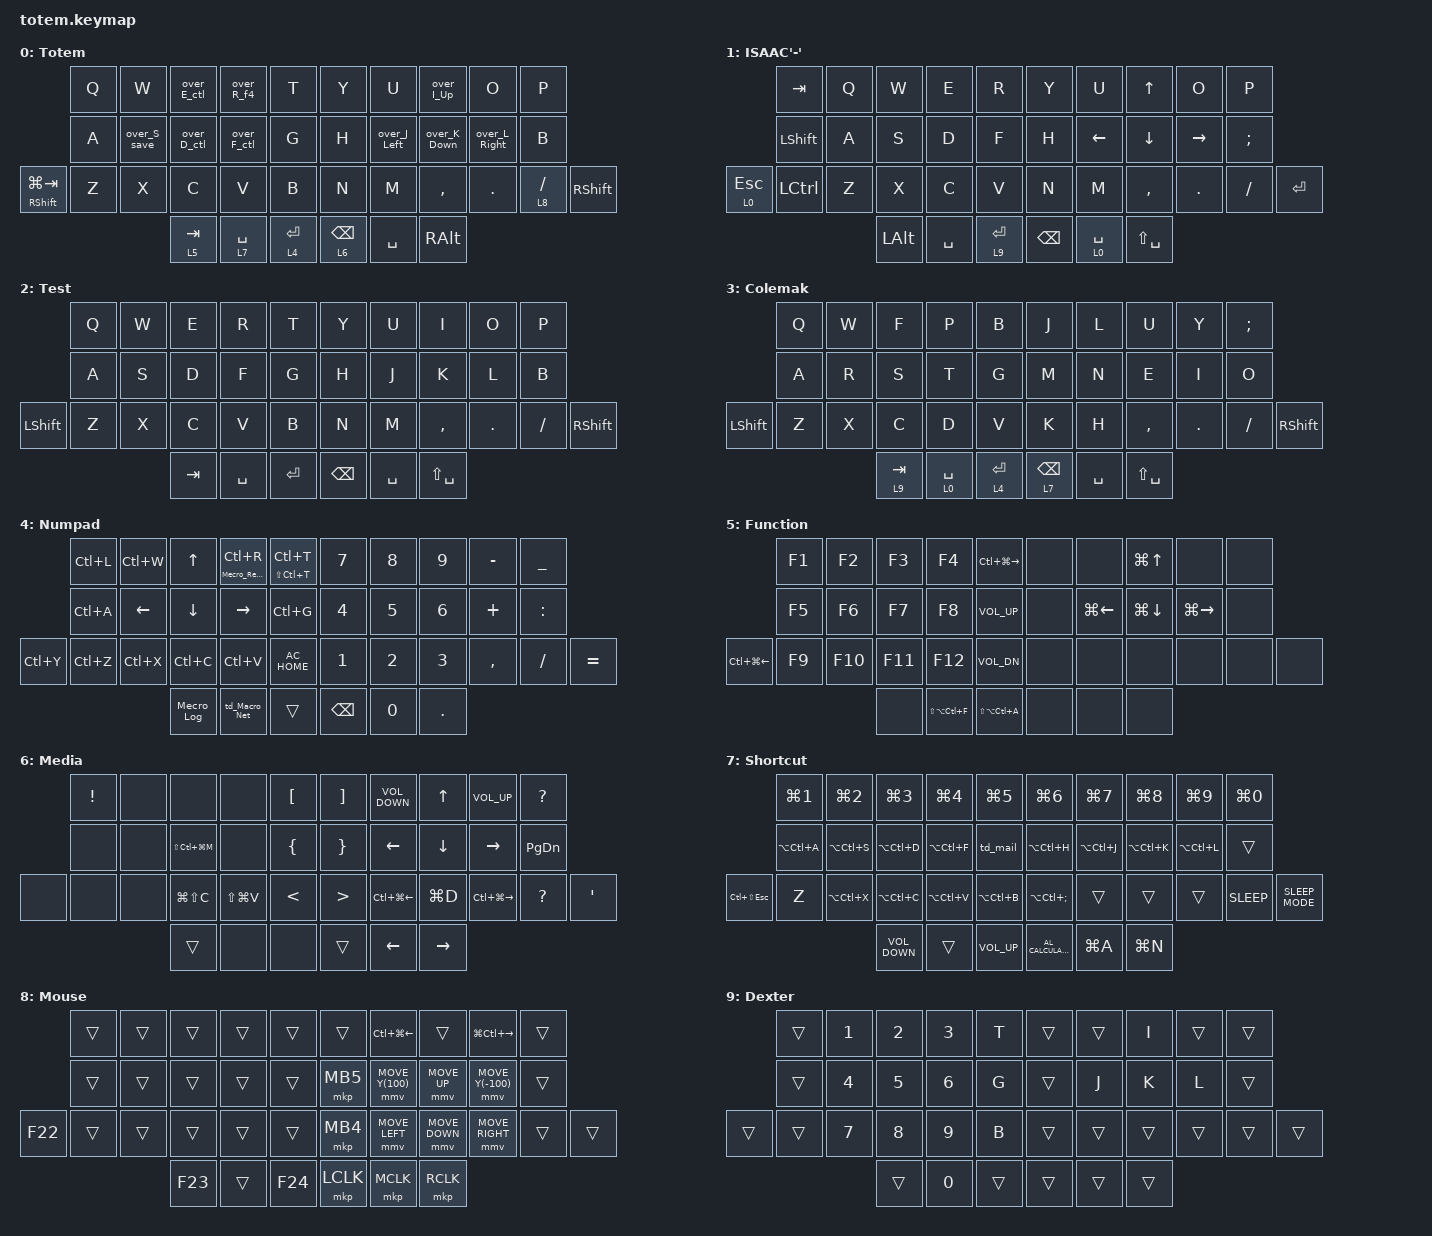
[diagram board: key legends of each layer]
//
//                                                        ▀▀▀▀▀     ▀▀▀▀▀          ▀▀█▀▀
//                                                        ▄▀▀▀▄  ▄  ▄▀▀▀▄  ▄  ▄▀▀▀▄  █  ▄▀▀▀▄
//                                                        █   █  █  █   █  █  █   █  █  █   █
//                                                         ▀▀▀   █   ▀▀▀   █   ▀▀▀   ▀   ▀▀▀
//                                                               █      ▄▄▄█▄▄▄    █   █  
//                                                               ▀      █  █  █     █▄█
//                                                             ▀▀▀▀▀    █  █  █      ▀
//                                                                      ▀  ▀  ▀
//
// ▄▄▄▄▄▄▄▄▄▄▄▄▄▄▄▄▄▄▄▄▄▄▄▄▄▄▄▄▄▄▄▄▄▄▄▄▄▄▄▄▄▄▄▄▄▄▄▄▄▄▄▄▄▄▄▄▄▄▄▄▄▄▄▄▄▄▄▄▄▄▄▄▄▄▄▄▄▄▄▄▄▄▄▄▄▄▄▄▄▄▄▄▄▄▄▄▄▄▄▄▄▄▄▄▄▄▄▄▄▄▄▄▄▄▄▄▄▄▄▄▄▄▄▄▄▄▄▄▄▄▄▄▄▄▄▄▄▄▄▄▄▄▄▄▄▄▄▄▄

#include <behaviors.dtsi>
#include <dt-bindings/zmk/keys.h>
#include <dt-bindings/zmk/pointing.h>

#define Base        0
#define Nav         1
#define Sym         2
#define Fun         3
#define Game        4
#define Gameplus    5

&mt {
    quick-tap-ms = <100>;
    global-quick-tap;
    flavor = "hold-preferred";
    tapping-term-ms = <180>;
};

&lt {
    tapping-term-ms = <400>;
    flavor = "balanced";
    quick-tap-ms = <400>;
};

/ {
    behaviors {
        hm: homerow_mods {
            compatible = "zmk,behavior-hold-tap";
            label = "HOMEROW_MODS";
            #binding-cells = <2>;
            flavor = "tap-preferred";
            tapping-term-ms = <200>;
            quick-tap-ms = <130>;
            global-quick-tap;
            bindings = <&kp>, <&kp>;
        };

        td_Macro_Net: td_Macro_Net {
            compatible = "zmk,behavior-tap-dance";
            label = "TD_MACRO_NET";
            #binding-cells = <0>;
            bindings = <&Macro_Net1>, <&Macro_Net2>;

            tapping-term-ms = <350>;
        };

        td_Refresh: td_Refresh {
            compatible = "zmk,behavior-tap-dance";
            label = "TD_REFRESH";
            #binding-cells = <0>;
            bindings = <&kp LC(R)>, <&Mecro_Refresh>;

            tapping-term-ms = <350>;
        };

        td_mail: td_mail {
            compatible = "zmk,behavior-tap-dance";
            label = "TD_MAIL";
            #binding-cells = <0>;
            bindings = <&kp LA(LC(G))>, <&kp LA(LC(N))>;
        };

        td_chrome_newtab: td_chrome_newtab {
            compatible = "zmk,behavior-tap-dance";
            label = "TD_CHROME_NEWTAB";
            #binding-cells = <0>;
            bindings = <&kp LC(T)>, <&kp LC(LS(T))>;

            tapping-term-ms = <350>;
        };

        over_S_save: over_S_save {
            compatible = "zmk,behavior-mod-morph";
            label = "OVER_S_SAVE";
            bindings = <&kp S>, <&kp LC(S)>;

            #binding-cells = <0>;
            mods = <(MOD_LSFT)>;
        };

        over_I_Up: over_I_Up {
            compatible = "zmk,behavior-mod-morph";
            label = "OVER_I_UP";
            bindings = <&kp I>, <&kp LS(UP_ARROW)>;

            #binding-cells = <0>;
            mods = <(MOD_LSFT)>;
        };

        over_J_Left: over_J_Left {
            compatible = "zmk,behavior-mod-morph";
            label = "OVER_J_LEFT";
            bindings = <&kp J>, <&kp LS(LEFT_ARROW)>;

            #binding-cells = <0>;
            mods = <(MOD_LSFT)>;
        };

        over_K_Down: over_K_Down {
            compatible = "zmk,behavior-mod-morph";
            label = "OVER_K_DOWN";
            bindings = <&kp K>, <&kp LS(DOWN_ARROW)>;

            #binding-cells = <0>;
            mods = <(MOD_LSFT)>;
        };

        over_L_Right: over_L_Right {
            compatible = "zmk,behavior-mod-morph";
            label = "OVER_L_RIGHT";
            bindings = <&kp L>, <&kp LS(RIGHT_ARROW)>;

            #binding-cells = <0>;
            mods = <(MOD_LSFT)>;
        };

        hmc: homerow_mods_ctrl {
            compatible = "zmk,behavior-hold-tap";
            label = "HMC";
            #binding-cells = <2>;
            flavor = "tap-preferred";
            tapping-term-ms = <200>;
            quick-tap-ms = <130>;
            global-quick-tap;
            bindings = <&kp>, <&kp>;

            hold-trigger-key-positions = <34>;
        };

        OSM_shift: OSM_shift {
            compatible = "zmk,behavior-sticky-key";
            label = "OSM_SHIFT";
            bindings = <&kp>;
            #binding-cells = <1>;
            release-after-ms = <50>;
            quick-release;
        };

        LT_hold: LT_hold {
            compatible = "zmk,behavior-hold-tap";
            label = "LT_HOLD";
            bindings = <&mo>, <&kp>;

            #binding-cells = <2>;
            tapping-term-ms = <240>;
            quick-tap-ms = <240>;
        };

        MT_hold: MT_hold {
            compatible = "zmk,behavior-hold-tap";
            label = "MT_HOLD";
            bindings = <&kp>, <&kp>;

            #binding-cells = <2>;
            tapping-term-ms = <240>;
            quick-tap-ms = <200>;
        };

        over_R_f4: over_R_f4 {
            compatible = "zmk,behavior-mod-morph";
            label = "OVER_R_F4";
            bindings = <&kp R>, <&kp LA(F4)>;

            #binding-cells = <0>;
            mods = <(MOD_LSFT)>;
        };

        over_D_ctl: over_D_ctl {
            compatible = "zmk,behavior-mod-morph";
            label = "OVER_D_CTL";
            bindings = <&kp D>, <&kp LC(D)>;

            #binding-cells = <0>;
            mods = <(MOD_LSFT)>;
        };

        over_E_ctl: over_E_ctl {
            compatible = "zmk,behavior-mod-morph";
            label = "OVER_E_CTL";
            bindings = <&kp E>, <&kp LC(E)>;

            #binding-cells = <0>;
            mods = <(MOD_LSFT)>;
        };

        over_F_ctl: over_F_ctl {
            compatible = "zmk,behavior-mod-morph";
            label = "OVER_F_CTL";
            bindings = <&kp F>, <&kp LC(F)>;

            #binding-cells = <0>;
            mods = <(MOD_LSFT)>;
        };

        ht_test: ht_test {
            compatible = "zmk,behavior-hold-tap";
            label = "HT_TEST";
            bindings = <&kp>, <&kp>;

            #binding-cells = <2>;
            tapping-term-ms = <350>;
        };

        td_hold_test: td_hold_test {
            compatible = "zmk,behavior-tap-dance";
            label = "TD_HOLD_TEST";
            #binding-cells = <0>;
            bindings = <&kp NUMBER_1>, <&ht_test NUMBER_3 NUMBER_2>;
        };

        LT_retro: LT_retro {
            compatible = "zmk,behavior-hold-tap";
            label = "LT_RETRO";
            bindings = <&mo>, <&kp>;

            #binding-cells = <2>;
            tapping-term-ms = <300>;
            flavor = "hold-preferred";
            retro-tap;
            quick-tap-ms = <300>;
        };

        ht_refresh: ht_refresh {
            compatible = "zmk,behavior-hold-tap";
            label = "HT_REFRESH";
            #binding-cells = <2>;
            flavor = "tap-preferred";
            tapping-term-ms = <200>;
            quick-tap-ms = <130>;
            global-quick-tap;
            bindings = <&Mecro_Refresh>, <&kp>;
        };

        ht_mkp: ht_mkp {
            compatible = "zmk,behavior-hold-tap";
            label = "HT_MKP";
            bindings = <&mkp>, <&kp>;

            #binding-cells = <2>;
            tapping-term-ms = <240>;
            quick-tap-ms = <200>;
            flavor = "balanced";
        };
    };

    combos {
        compatible = "zmk,combos";

        Delete_alt {
            bindings = <&hm LALT DEL>;
            key-positions = <11 12>;
            layers = <0 3>;
        };

        question {
            bindings = <&kp QUESTION>;
            key-positions = <16 17>;
            layers = <0 3>;
            timeout-ms = <400>;
        };

        Enter {
            bindings = <&kp ENTER>;
            key-positions = <19 31>;
            layers = <0 3>;
            timeout-ms = <350>;
        };

        alt+f4 {
            bindings = <&kp LA(F4)>;
            key-positions = <0 20>;
            layers = <0 3 4>;
        };

        brackets {
            bindings = <&kp LPAR>;
            key-positions = <13 14>;
            layers = <0 3 4>;
        };

        caps {
            bindings = <&kp CAPS>;
            key-positions = <0 1 8 9>;
            layers = <0 3>;
            timeout-ms = <350>;
        };

        four {
            bindings = <&kp DOLLAR>;
            key-positions = <3 14>;
            layers = <0 4 3>;
            require-prior-idle-ms = <100>;
        };

        caps_word {
            bindings = <&caps_word>;
            key-positions = <27 28>;
            timeout-ms = <350>;
            layers = <0 3>;
        };

        del {
            bindings = <&mt LALT DELETE>;
            key-positions = <18 17>;
            layers = <0 3>;
        };

        quotes {
            bindings = <&kp DOUBLE_QUOTES>;
            key-positions = <30 29>;
            layers = <0 3>;
        };

        exclamation {
            bindings = <&mt LSHIFT EXCLAMATION>;
            key-positions = <12 13>;
            layers = <0 3 4>;
        };

        qua {
            bindings = <&kp SQT>;
            key-positions = <29 28>;
            layers = <0 3>;
            require-prior-idle-ms = <100>;
        };

        win {
            bindings = <&kp LEFT_WIN>;
            key-positions = <21 22>;
            layers = <0 3>;
        };

        middle_click {
            bindings = <&ht_mkp MCLK LC(PAGE_UP)>;
            key-positions = <22 23>;
            timeout-ms = <350>;
            layers = <0 3>;
        };

        right_click {
            bindings = <&ht_mkp RCLK LC(PAGE_DOWN)>;
            key-positions = <23 24>;
            layers = <0 3 4>;
        };

        five {
            bindings = <&kp PERCENT>;
            key-positions = <6 15>;
            layers = <0 3>;
            require-prior-idle-ms = <100>;
        };

        six {
            bindings = <&kp CARET>;
            key-positions = <6 7>;
            layers = <0 3>;
            require-prior-idle-ms = <100>;
        };

        seven {
            bindings = <&kp AMPERSAND>;
            key-positions = <8 7>;
            layers = <0 3>;
        };

        two {
            bindings = <&kp AT_SIGN>;
            key-positions = <1 2>;
            layers = <0 4 3>;
            require-prior-idle-ms = <100>;
        };

        three {
            bindings = <&kp HASH>;
            key-positions = <2 3>;
            layers = <0 4 3>;
            require-prior-idle-ms = <100>;
        };

        eight {
            bindings = <&kp ASTERISK>;
            key-positions = <8 9>;
            layers = <0 4 3>;
            require-prior-idle-ms = <100>;
        };

        wave {
            bindings = <&mt LCTRL TILDE>;
            key-positions = <10 11>;
            layers = <0 4 3>;
            require-prior-idle-ms = <100>;
        };

        Macro_brackets {
            bindings = <&kp RPAR>;
            key-positions = <15 16>;
            layers = <0 3>;
            timeout-ms = <350>;
        };

        TG {
            bindings = <&tog 3>;
            key-positions = <10 19 11 18>;
            layers = <0 3>;
        };

        gaming {
            bindings = <&tog 1>;
            key-positions = <20 31>;
            layers = <0 1>;
        };

        backtick {
            bindings = <&kp GRAVE>;
            key-positions = <20 10>;
            layers = <0 3>;
        };

        backslash {
            bindings = <&kp BACKSLASH>;
            key-positions = <31 30>;
            layers = <0 3>;
        };

        esc {
            bindings = <&kp ESC>;
            key-positions = <0 1>;
            layers = <0 3>;
        };

        semi {
            bindings = <&mt LCTRL SEMICOLON>;
            key-positions = <19 18>;
            layers = <0 3>;
        };

        L_bracket {
            bindings = <&kp LBKT>;
            key-positions = <4 3>;
            layers = <0 3>;
        };

        R_bracket {
            bindings = <&kp RBKT>;
            key-positions = <5 6>;
            layers = <0>;
        };

        all {
            bindings = <&kp LC(A)>;
            key-positions = <10 34>;
            layers = <0>;
        };

        underbar {
            bindings = <&kp UNDERSCORE>;
            key-positions = <26 27>;
            layers = <0>;
        };

        minus {
            bindings = <&kp MINUS>;
            key-positions = <25 24>;
        };
    };

    macros {
        Macro_Net1: net_macro {
            compatible = "zmk,behavior-macro";
            #binding-cells = <0>;
            bindings = <&kp LEFT_ARROW &kp LEFT_ARROW &kp N0 &kp ENTER>;
            label = "NET_MACRO";
        };

        Macro_Net2: net_macro2 {
            compatible = "zmk,behavior-macro";
            #binding-cells = <0>;
            bindings = <&kp LEFT_ARROW &kp N0 &kp N0 &kp ENTER>;
            label = "NET_MACRO2";
        };

        Mecro_Log: Mecro_Log {
            compatible = "zmk,behavior-macro";
            #binding-cells = <0>;
            bindings = <&kp LC(A) &kp D &kp L &kp D &kp M &kp D &kp D &kp L>;
            label = "MECRO_LOG";
        };

        Mecro_Refresh: Mecro_Refresh {
            compatible = "zmk,behavior-macro";
            #binding-cells = <0>;
            bindings = <&kp LC(A) &kp LC(C) &kp LC(R)>;
            label = "MECRO_REFRESH";
        };

        Macro_brackets: Macro_brackets {
            compatible = "zmk,behavior-macro";
            #binding-cells = <0>;
            bindings = <&kp LPAR &kp RPAR &kp LEFT_ARROW>;
            label = "MACRO_BRACKETS";
        };

        Macro_bracket_r: Macro_bracket {
            compatible = "zmk,behavior-macro";
            #binding-cells = <0>;
            bindings = <&kp LEFT_BRACKET &kp RIGHT_BRACKET &kp LEFT_ARROW>;
            label = "MACRO_BRACKET";
        };
    };

    keymap {
        compatible = "zmk,keymap";

        Totem {
            display-name = "Totem";
            bindings = <
                              &kp Q  &kp W         &over_E_ctl      &over_R_f4         &kp T               &kp Y            &kp U         &over_I_Up     &kp O          &kp P
                              &kp A  &over_S_save  &over_D_ctl      &over_F_ctl        &kp G               &kp H            &over_J_Left  &over_K_Down   &over_L_Right  &kp B
&MT_hold RIGHT_SHIFT LG(TAB)  &kp Z  &kp X         &kp C            &kp V              &kp B               &kp N            &kp M         &kp COMMA      &kp PERIOD     &lt 8 SLASH  &kp RIGHT_SHIFT
                                                   &LT_retro 5 TAB  &LT_retro 7 SPACE  &LT_hold 4 ENTER    &lt 6 BACKSPACE  &kp SPACE     &kp RIGHT_ALT
            >;
        };

        Gaming {
            bindings = <
              &kp TAB    &kp Q  &kp W     &kp E      &kp R          &kp Y     &kp U           &kp UP_ARROW    &kp O            &kp P
              &kp LSHFT  &kp A  &kp S     &kp D      &kp F          &kp H     &kp LEFT_ARROW  &kp DOWN_ARROW  &kp RIGHT_ARROW  &kp SEMI
&lt 0 ESCAPE  &kp LCTRL  &kp Z  &kp X     &kp C      &kp V          &kp N     &kp M           &kp COMMA       &kp DOT          &kp FSLH  &kp ENTER
                                &kp LALT  &kp SPACE  &lt 9 ENTER    &kp BSPC  &lt 0 SPACE     &kp LS(SPACE)
            >;

            label = "ISAAC'-'";
        };

        Test {
            bindings = <
           &kp Q  &kp W  &kp E    &kp R      &kp T      &kp Y     &kp U      &kp I          &kp O    &kp P
           &kp A  &kp S  &kp D    &kp F      &kp G      &kp H     &kp J      &kp K          &kp L    &kp B
&kp LSHFT  &kp Z  &kp X  &kp C    &kp V      &kp B      &kp N     &kp M      &kp COMMA      &kp DOT  &kp FSLH  &kp RSHFT
                         &kp TAB  &kp SPACE  &kp RET    &kp BSPC  &kp SPACE  &kp LS(SPACE)
            >;
        };

        Colemak {
            bindings = <
           &kp Q  &kp W  &kp F      &kp P        &kp B          &kp J            &kp L      &kp U          &kp Y    &kp SEMI
           &kp A  &kp R  &kp S      &kp T        &kp G          &kp M            &kp N      &kp E          &kp I    &kp O
&kp LSHFT  &kp Z  &kp X  &kp C      &kp D        &kp V          &kp K            &kp H      &kp COMMA      &kp DOT  &kp FSLH  &kp RSHFT
                         &lt 9 TAB  &lt 0 SPACE  &lt 4 ENTER    &lt 7 BACKSPACE  &kp SPACE  &kp LS(SPACE)
            >;

            label = "Colemak";
        };

        Numpad {
            display-name = "Numpad";
            bindings = <
           &kp LC(L)  &kp LC(W)       &kp UP_ARROW    &ht_refresh 0 LC(R)  &hm LS(LC(T)) LC(T)    &kp N7         &kp N8  &kp N9      &kp MINUS  &kp UNDERSCORE
           &kp LC(A)  &kp LEFT_ARROW  &kp DOWN_ARROW  &kp RIGHT_ARROW      &kp LC(G)              &kp N4         &kp N5  &kp N6      &kp PLUS   &kp COLON
&kp LC(Y)  &kp LC(Z)  &kp LC(X)       &kp LC(C)       &kp LC(V)            &kp C_AC_HOME          &kp N1         &kp N2  &kp N3      &kp COMMA  &kp SLASH       &kp EQUAL
                                      &Mecro_Log      &td_Macro_Net        &trans                 &kp BACKSPACE  &kp N0  &kp PERIOD
            >;
        };

        Function {
            display-name = "Function";
            bindings = <
                        &kp F1  &kp F2   &kp F3   &kp F4             &kp LC(LG(RIGHT))    &none  &none         &kp LG(UP_ARROW)  &none          &none
                        &kp F5  &kp F6   &kp F7   &kp F8             &kp C_VOL_UP         &none  &kp LG(LEFT)  &kp LG(DOWN)      &kp LG(RIGHT)  &none
&kp LC(LG(LEFT_ARROW))  &kp F9  &kp F10  &kp F11  &kp F12            &kp C_VOL_DN         &none  &none         &none             &none          &none  &none
                                         &none    &kp LS(LA(LC(F)))  &kp LS(LA(LC(A)))    &none  &none         &none
            >;
        };

        Media {
            display-name = "Media";
            bindings = <
       &kp EXCLAMATION  &none  &none              &none          &kp LEFT_BRACKET    &kp RBKT          &kp C_VOLUME_DOWN  &kp UP_ARROW     &kp C_VOLUME_UP    &kp QUESTION
       &none            &none  &kp LS(LC(LG(M)))  &none          &kp LEFT_BRACE      &kp RIGHT_BRACE   &kp LEFT_ARROW     &kp DOWN_ARROW   &kp RIGHT_ARROW    &kp PAGE_DOWN
&none  &none            &none  &kp LG(LS(C))      &kp LS(LG(V))  &kp LESS_THAN       &kp GREATER_THAN  &kp LC(LG(LEFT))   &kp LG(D)        &kp LC(LG(RIGHT))  &kp QUESTION   &kp SQT
                               &trans             &none          &none               &trans            &kp LEFT_ARROW     &kp RIGHT_ARROW
            >;
        };

        Shortcut {
            display-name = "Shortcut";
            bindings = <
                    &kp LG(NUMBER_1)  &kp LG(NUMBER_2)  &kp LG(NUMBER_3)   &kp LG(NUMBER_4)  &kp LG(N5)         &kp LG(NUMBER_6)       &kp LG(N7)     &kp LG(N8)     &kp LG(N9)     &kp LG(N0)
                    &kp LA(LC(A))     &kp LA(LC(S))     &kp LA(LC(D))      &kp LA(LC(F))     &td_mail           &kp LA(LC(H))          &kp LA(LC(J))  &kp LA(LC(K))  &kp LA(LC(L))  &trans
&kp LC(LS(ESCAPE))  &kp Z             &kp LA(LC(X))     &kp LA(LC(C))      &kp LA(LC(V))     &kp LA(LC(B))      &kp LA(LC(SEMICOLON))  &trans         &trans         &trans         &kp C_SLEEP  &kp C_SLEEP_MODE
                                                        &kp C_VOLUME_DOWN  &trans            &kp C_VOLUME_UP    &kp C_AL_CALCULATOR    &kp LG(A)      &kp LG(N)
            >;
        };

        Mouse {
            bindings = <
         &trans  &trans  &trans   &trans  &trans     &trans     &kp LC(LG(LEFT))  &trans          &kp LG(LC(RIGHT))  &trans
         &trans  &trans  &trans   &trans  &trans     &mkp MB5   &mmv MOVE_Y(100)  &mmv MOVE_UP    &mmv MOVE_Y(-100)  &trans
&kp F22  &trans  &trans  &trans   &trans  &trans     &mkp MB4   &mmv MOVE_LEFT    &mmv MOVE_DOWN  &mmv MOVE_RIGHT    &trans  &trans
                         &kp F23  &trans  &kp F24    &mkp LCLK  &mkp MCLK         &mkp RCLK
            >;

            label = "Mouse";
        };

        Gameadd {
            bindings = <
        &trans  &kp N1  &kp N2  &kp N3  &kp T     &trans  &trans  &kp I   &trans  &trans
        &trans  &kp N4  &kp N5  &kp N6  &kp G     &trans  &kp J   &kp K   &kp L   &trans
&trans  &trans  &kp N7  &kp N8  &kp N9  &kp B     &trans  &trans  &trans  &trans  &trans  &trans
                        &trans  &kp N0  &trans    &trans  &trans  &trans
            >;

            label = "Dexter";
        };
    };
};
